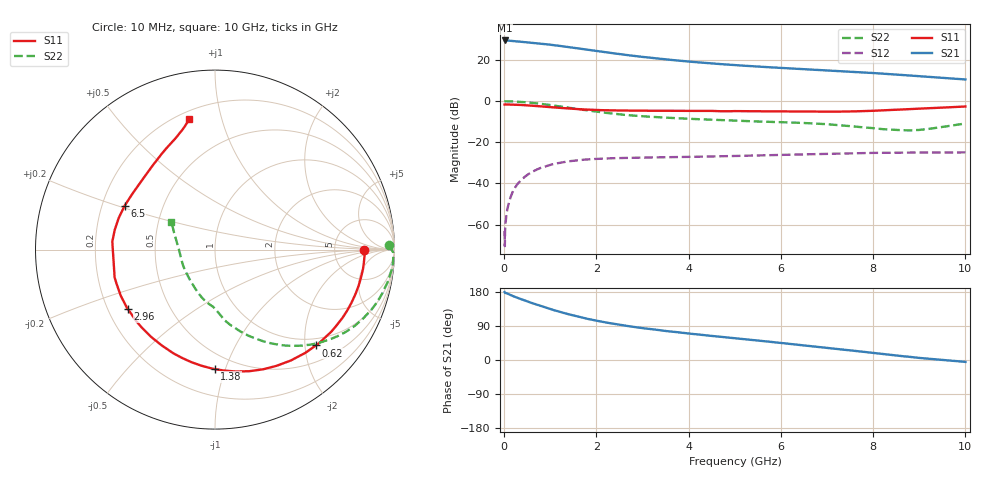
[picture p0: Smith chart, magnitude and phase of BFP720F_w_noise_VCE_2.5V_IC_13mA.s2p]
! Infineon Technologies  Discrete & RF Semiconductors
! BFP720F
! VCE =  2.5 V,  IC =  13 mA
! Common Emitter S-Parameters:  Jan 2016
# GHz  S  MA  R  50
!  f  S11  S21  S12  S22
! GHz  MAG  ANG  MAG  ANG  MAG  ANG  MAG  ANG
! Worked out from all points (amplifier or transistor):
!   233 points, 10 MHz to 10 GHz, reference 50 ohm
!   highest |S21| = 29.5 dB at 10 MHz (marker M1)
!   |S21| within 3 dB of that: start of sweep to 1.324 GHz
!   unconditionally stable (mu >= 1): start of sweep to 15.62 MHz; 6.379 GHz to end of sweep
!   at 200 MHz: K = 0.07, MSG = 36.3 dB, |S12| = -43.3 dB
!   at 1.74 GHz: K = 0.35, MSG = 26.8 dB, |S12| = -28.4 dB
!   at 10 GHz: K = 1.24, MAG = 14.8 dB, |S12| = -24.9 dB
!   lowest NFmin = 0.64 dB at 450 MHz
!   S11 on the Smith chart (normalised r, x): 10 MHz: 11, -0; 620 MHz: 0.84, -2.24; 1.38 GHz: 0.38, -0.92; 2.96 GHz: 0.28, -0.29; 6.5 GHz: 0.30, +0.21; 10 GHz: 0.25, +0.79
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0.01  0.8277 -0.2  29.87 179.2  0.0007 -33.8  0.9712 1.4
0.015  0.8314 -0.8  29.75 178.1  0.0003 31.4  0.9825 0.1
0.02  0.8351 -1.3  29.65 177.0  0.0007 96.6  0.9942 -1.1
0.05  0.8334 -3.6  29.8 176.5  0.0018 82.0  0.9943 -2.0
0.1  0.8321 -7.2  29.59 173.7  0.0033 85.2  0.9945 -4.2
0.26  0.8195 -18.5  28.49 165.4  0.0087 80.0  0.977 -11.1
0.44  0.7997 -31.1  27.3 157.2  0.0143 73.2  0.9462 -18.5
0.62  0.7756 -43.5  26.19 149.6  0.0195 66.6  0.9063 -25.5
0.8  0.7486 -55.6  25.06 142.2  0.0241 60.7  0.8617 -32.1
1  0.7186 -68.2  23.56 134.4  0.0283 54.5  0.8055 -38.8
1.38  0.6654 -90.2  20.75 121.3  0.0343 44.6  0.6998 -50.0
1.68  0.6329 -105.6  18.67 112.1  0.0374 38.4  0.6234 -57.6
2.2  0.6027 -126.3  15.47 99.1  0.0406 30.3  0.522 -68.0
2.6  0.5928 -137.9  13.49 91.0  0.0417 26.0  0.4669 -73.9
2.96  0.5879 -145.7  12.05 84.8  0.0425 23.7  0.4329 -77.9
3.4  0.5845 -152.5  10.65 78.3  0.0433 21.4  0.404 -81.4
4  0.5811 -159.8  9.17 69.8  0.0443 19.2  0.373 -84.6
5.1  0.5724 174.2  7.398 56.2  0.0469 16.9  0.3337 -89.3
6.5  0.5596 154.0  5.995 38.6  0.051 13.9  0.2958 -99.5
6.8  0.5556 148.9  5.738 34.8  0.052 13.0  0.2833 -103.2
8.4  0.6123 118.7  4.522 13.3  0.056 7.3  0.2028 -146.2
10  0.7414 101.1  3.371 -5.0  0.057 3.0  0.2872 147.6
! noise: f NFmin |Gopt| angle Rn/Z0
0.45  0.64  0.27  2  0.64
0.9  0.67  0.23  8  0.14
1.8  0.7  0.21  11  0.15
2.4  0.72  0.18  18  0.13
5.5  0.88  0.15  30  0.08
10  1.04  0.3  -88  0.19
